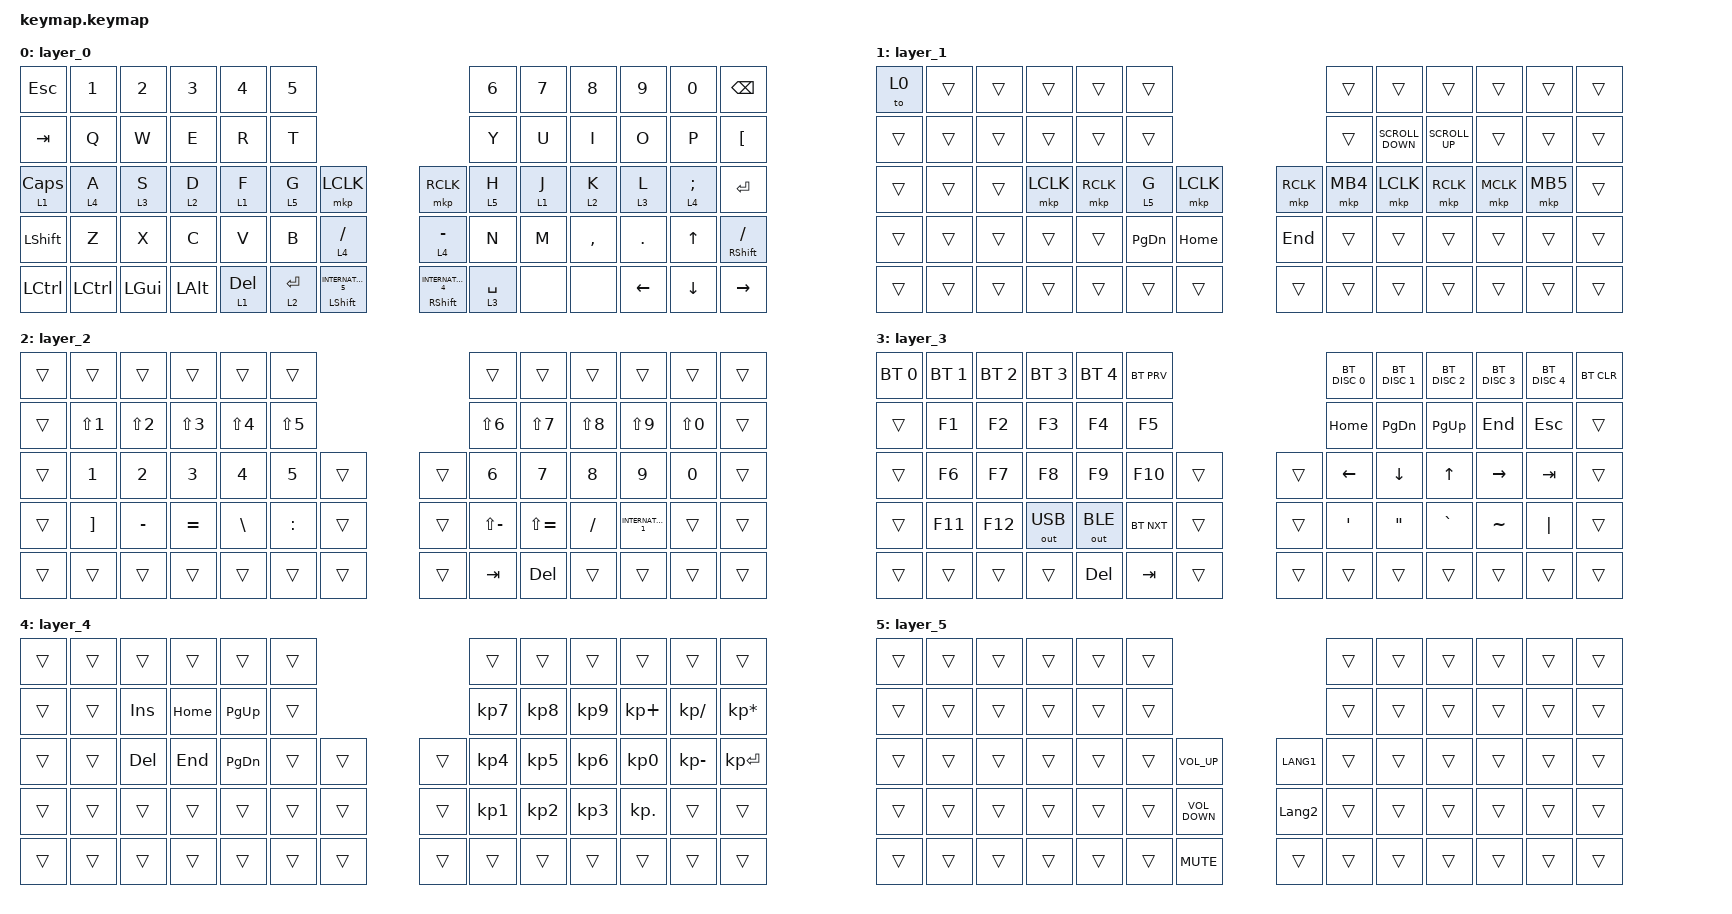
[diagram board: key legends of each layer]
#include <input/processors.dtsi>
#include <behaviors.dtsi>
#include <dt-bindings/zmk/bt.h>
#include <dt-bindings/zmk/keys.h>
#include <dt-bindings/zmk/outputs.h>
#include <dt-bindings/zmk/pointing.h>

/ {
    combos {
        compatible = "zmk,combos";

        bt_clear {
            bindings = <&bt BT_CLR>;
            key-positions = <28 29>;
            layers = <2>;
        };
    };

    keymap {
        compatible = "zmk,keymap";

        layer_0 {
            bindings = <
&kp ESC         &kp N1     &kp N2    &kp N3    &kp N4        &kp N5                                                                 &kp N6       &kp N7   &kp N8     &kp N9          &kp N0           &kp BSPC
&kp TAB         &kp Q      &kp W     &kp E     &kp R         &kp T                                                                  &kp Y        &kp U    &kp I      &kp O           &kp P            &kp LEFT_BRACKET
&lt 1 CAPSLOCK  &lt 4 A    &lt 3 S   &lt 2 D   &lt 1 F       &lt 5 G    &mkp LCLK                       &mkp RCLK                   &lt 5 H      &lt 1 J  &lt 2 K    &lt 3 L         &lt 4 SEMICOLON  &kp RET
&kp LSHFT       &kp Z      &kp X     &kp C     &kp V         &kp B      &lt 4 SLASH                     &lt 4 MINUS                 &kp N        &kp M    &kp COMMA  &kp DOT         &kp UP_ARROW     &mt RSHFT SLASH
&kp LCTRL       &kp LCTRL  &kp LGUI  &kp LALT  &lt 1 DELETE  &lt 2 RET  &mt LEFT_SHIFT INTERNATIONAL_5  &mt RSHIFT INTERNATIONAL_4  &lt 3 SPACE  &none    &none      &kp LEFT_ARROW  &kp DOWN         &kp RIGHT_ARROW
            >;
        };

        layer_1 {
            bindings = <
&to 0   &trans  &trans  &trans     &trans     &trans                               &trans    &trans             &trans           &trans     &trans    &trans
&trans  &trans  &trans  &trans     &trans     &trans                               &trans    &kp K_SCROLL_DOWN  &kp K_SCROLL_UP  &trans     &trans    &trans
&trans  &trans  &trans  &mkp LCLK  &mkp RCLK  &lt 5 G        &mkp LCLK  &mkp RCLK  &mkp MB4  &mkp LCLK          &mkp RCLK        &mkp MCLK  &mkp MB5  &trans
&trans  &trans  &trans  &trans     &trans     &kp PAGE_DOWN  &kp HOME   &kp END    &trans    &trans             &trans           &trans     &trans    &trans
&trans  &trans  &trans  &trans     &trans     &trans         &trans     &trans     &trans    &trans             &trans           &trans     &trans    &trans
            >;
        };

        layer_2 {
            bindings = <
&trans  &trans             &trans            &trans      &trans         &trans                      &trans         &trans         &trans      &trans               &trans      &trans
&trans  &kp LS(NUMBER_1)   &kp LS(NUMBER_2)  &kp LS(N3)  &kp LS(N4)     &kp LS(N5)                  &kp LS(N6)     &kp LS(N7)     &kp LS(N8)  &kp LS(N9)           &kp LS(N0)  &trans
&trans  &kp N1             &kp N2            &kp N3      &kp N4         &kp N5      &trans  &trans  &kp N6         &kp N7         &kp N8      &kp N9               &kp N0      &trans
&trans  &kp RIGHT_BRACKET  &kp MINUS         &kp EQUAL   &kp BACKSLASH  &kp COLON   &trans  &trans  &kp LS(MINUS)  &kp LS(EQUAL)  &kp SLASH   &kp INTERNATIONAL_1  &trans      &trans
&trans  &trans             &trans            &trans      &trans         &trans      &trans  &trans  &kp TAB        &kp DEL        &trans      &trans               &trans      &trans
            >;
        };

        layer_3 {
            bindings = <
&bt BT_SEL 0  &bt BT_SEL 1  &bt BT_SEL 2  &bt BT_SEL 3  &bt BT_SEL 4  &bt BT_PRV                  &bt BT_DISC 0     &bt BT_DISC 1  &bt BT_DISC 2  &bt BT_DISC 3  &bt BT_DISC 4  &bt BT_CLR
&trans        &kp F1        &kp F2        &kp F3        &kp F4        &kp F5                      &kp HOME          &kp PAGE_DOWN  &kp PG_UP      &kp END        &kp ESCAPE     &trans
&trans        &kp F6        &kp F7        &kp F8        &kp F9        &kp F10     &trans  &trans  &kp LEFT          &kp DOWN       &kp UP_ARROW   &kp RIGHT      &kp TAB        &trans
&trans        &kp F11       &kp F12       &out OUT_USB  &out OUT_BLE  &bt BT_NXT  &trans  &trans  &kp SINGLE_QUOTE  &kp DQT        &kp GRAVE      &kp TILDE      &kp PIPE       &trans
&trans        &trans        &trans        &trans        &kp DELETE    &kp TAB     &trans  &trans  &trans            &trans         &trans         &trans         &trans         &trans
            >;
        };

        layer_4 {
            bindings = <
&trans  &trans  &trans   &trans    &trans         &trans                  &trans           &trans           &trans           &trans           &trans        &trans
&trans  &trans  &kp INS  &kp HOME  &kp PAGE_UP    &trans                  &kp KP_NUMBER_7  &kp KP_NUMBER_8  &kp KP_NUMBER_9  &kp KP_PLUS      &kp KP_SLASH  &kp KP_ASTERISK
&trans  &trans  &kp DEL  &kp END   &kp PAGE_DOWN  &trans  &trans  &trans  &kp KP_NUMBER_4  &kp KP_NUMBER_5  &kp KP_NUMBER_6  &kp KP_NUMBER_0  &kp KP_MINUS  &kp KP_ENTER
&trans  &trans  &trans   &trans    &trans         &trans  &trans  &trans  &kp KP_NUMBER_1  &kp KP_N2        &kp KP_NUMBER_3  &kp KP_DOT       &trans        &trans
&trans  &trans  &trans   &trans    &trans         &trans  &trans  &trans  &trans           &trans           &trans           &trans           &trans        &trans
            >;
        };

        layer_5 {
            bindings = <
&trans  &trans  &trans  &trans  &trans  &trans                                     &trans  &trans  &trans  &trans  &trans  &trans
&trans  &trans  &trans  &trans  &trans  &trans                                     &trans  &trans  &trans  &trans  &trans  &trans
&trans  &trans  &trans  &trans  &trans  &trans  &kp C_VOLUME_UP    &kp LANG1       &trans  &trans  &trans  &trans  &trans  &trans
&trans  &trans  &trans  &trans  &trans  &trans  &kp C_VOLUME_DOWN  &kp LANGUAGE_2  &trans  &trans  &trans  &trans  &trans  &trans
&trans  &trans  &trans  &trans  &trans  &trans  &kp K_MUTE         &trans          &trans  &trans  &trans  &trans  &trans  &trans
            >;
        };
    };
};

&pointing_listener {
    input-processors = <
        &zip_xy_transform (INPUT_TRANSFORM_X_INVERT | INPUT_TRANSFORM_Y_INVERT)
        &zip_temp_layer 1 1500
    >;

    scroll_layer {
        layers = <5>;
        input-processors = <
            &zip_xy_transform (INPUT_TRANSFORM_X_INVERT | INPUT_TRANSFORM_Y_INVERT)
            &zip_xy_to_scroll_mapper
            &zip_scroll_scaler 1 4
        >;
    };
};
